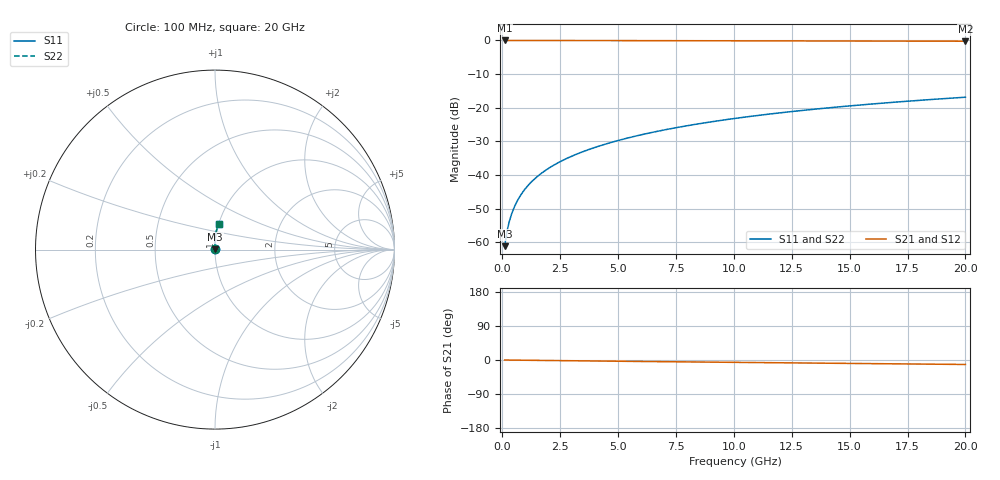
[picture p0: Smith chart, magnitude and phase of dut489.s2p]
! Touchstone file exported from HFSS 2024.1.0
!  File:  C:/UserFiles/LocalFiles/RDL_TSV_Batchsim/temp_RDL_top_489_1779678602.aedt
!  Generated:  11:12:10 AM May 25, 2026
!  Design:  RDL_top
!  Project:  temp_RDL_top_489_1779678602
!  Setup:  Setup1
!  Solution:  Sweep
! Variables:
!  dtsv = 10.80580581um
!  hbump = 3um
!  htsv = 56.58um
!  ldown = 100um
!  lrdl = 123.29um
!  p = 40
!  p1 = 58.65um
!  rhole = 1um
!  t = 450um
!  tdown = 3.915915916um
!  trdl = 4.59um
!  wdown = 15.38538539um
!  wrdl = 23.83um
# GHz S MA R 50.000000
! Terminal data exported
! Port[1] = Box2_T1
! Port[2] = Box2_T2
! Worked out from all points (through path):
!   200 points, 100 MHz to 20 GHz, reference 50 ohm
!   highest |S21| = -0.01 dB at 100 MHz (marker M1); lowest = -0.2 dB at 20 GHz (marker M2)
!   group delay of S21, straight-line fit = 1.62 ps
!   lowest |S11| = -61.1 dB at 100 MHz (marker M3), VSWR 1.00, Z = 50.1 + j0.0667 ohm
!   |S11| at or under -10 dB: start of sweep to end of sweep
!   |S22| runs from -61.1 to -16.9 dB; largest |S21 - S12| = 4e-15
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0.1  0.0008786 49.4  0.9994 -0.1  0.9994 -0.1  0.0008786 49.4
! Gamma 0 0 0 0
! Port Impedance 50 0 50 0
0.2  0.00144 65.3  0.9994 -0.1  0.9994 -0.1  0.00144 65.3
0.3  0.00203 72.1  0.9993 -0.2  0.9993 -0.2  0.00203 72.1
0.4  0.002628 76.0  0.9993 -0.3  0.9993 -0.3  0.002628 76.0
0.5  0.003232 78.6  0.9993 -0.3  0.9993 -0.3  0.003232 78.6
0.7  0.004453 81.8  0.9992 -0.5  0.9992 -0.5  0.004453 81.8
0.8  0.005069 82.9  0.9992 -0.5  0.9992 -0.5  0.005069 82.9
1  0.006307 84.5  0.9991 -0.7  0.9991 -0.7  0.006307 84.5
1.2  0.007553 85.6  0.999 -0.8  0.999 -0.8  0.007553 85.6
1.4  0.008806 86.5  0.9988 -1.0  0.9988 -1.0  0.008806 86.5
1.7  0.0107 87.4  0.9986 -1.2  0.9986 -1.2  0.0107 87.4
2  0.0126 88.1  0.9984 -1.4  0.9984 -1.4  0.0126 88.1
2.7  0.01711 89.2  0.9977 -1.8  0.9977 -1.8  0.01711 89.2
3.5  0.02238 90.0  0.9967 -2.3  0.9967 -2.3  0.02238 90.0
4.2  0.0271 90.3  0.9958 -2.8  0.9958 -2.8  0.0271 90.3
5  0.03262 90.6  0.9946 -3.3  0.9946 -3.3  0.03262 90.6
6.8  0.04544 90.4  0.9919 -4.4  0.9919 -4.4  0.04544 90.4
8.4  0.05718 89.8  0.9896 -5.3  0.9896 -5.3  0.05718 89.8
10.1  0.06985 88.9  0.9872 -6.3  0.9872 -6.3  0.06984 88.9
13.4  0.0946 86.7  0.9827 -8.1  0.9827 -8.1  0.09459 86.7
16.7  0.1192 84.4  0.9784 -10.0  0.9784 -10.0  0.1192 84.4
20  0.1435 82.1  0.9738 -11.8  0.9738 -11.8  0.1435 82.1
